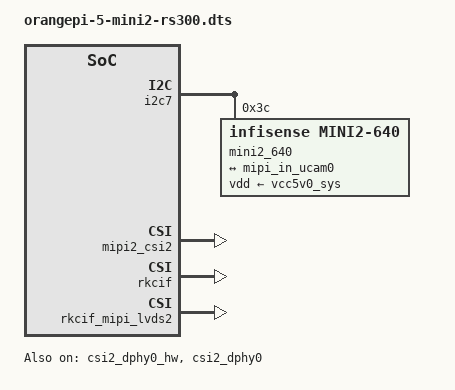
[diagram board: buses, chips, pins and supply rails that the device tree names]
// SPDX-License-Identifier: (GPL-2.0-only OR MIT)
/dts-v1/;
/plugin/;

/*
 * StableKite / Orange Pi 5 (RK3588S) – optional Mini2 640 overlay.
 *
 * This uses CSI camera1: i2c7 -> csi2_dphy0 -> mipi2_csi2 ->
 * rkcif_mipi_lvds2, without changing the board's default DTB.
 * Do not enable simultaneously with another camera using camera1.
 *
 * Power: the module needs a REAL, correctly regulated 5V supply.
 * The standard module accepts 5V at contacts 1 and 50 of the 50-pin
 * connector. Never feed 5V into MIPI, 1.8V I2C or 3.3V UART pins.
 * The 50-pin -> SBC CSI adapter, 1.8V I2C logic-level conversion,
 * common ground and high-speed wiring are physical board requirements.
 *
 * IMPORTANT: The module has no external MCLK input. Do not copy
 * phantom 'xvclk' and 3.3V regulators from other SBC RS300 examples.
 */

&i2c7 {
	status = "okay";

	mini2_640: camera@3c {
		compatible = "infisense,mini2-640";
		reg = <0x3c>;
		/* vcc5v0_sys is present in the R70 Orange Pi 5 board DTS */
		vdd-supply = <&vcc5v0_sys>;
		status = "okay";

		port {
			mini2_640_out: endpoint {
				remote-endpoint = <&mipi_in_ucam0>;
				bus-type = <4>; /* CSI-2 D-PHY */
				data-lanes = <1 2>;
				/* Cheng'en confirms 400 Mbps/lane (DDR). */
				link-frequencies = /bits/ 64 <200000000>;
			};
		};
	};
};

/* Camera1's default OV13850 endpoint is disabled in the base board DTS. */
&mipi_in_ucam0 {
	remote-endpoint = <&mini2_640_out>;
	data-lanes = <1 2>;
};

&csi2_dphy0_hw {
	status = "okay";
};

&csi2_dphy0 {
	status = "okay";
};

&mipi2_csi2 {
	status = "okay";
};

&rkcif {
	status = "okay";
};

&rkcif_mipi_lvds2 {
	status = "okay";
};
